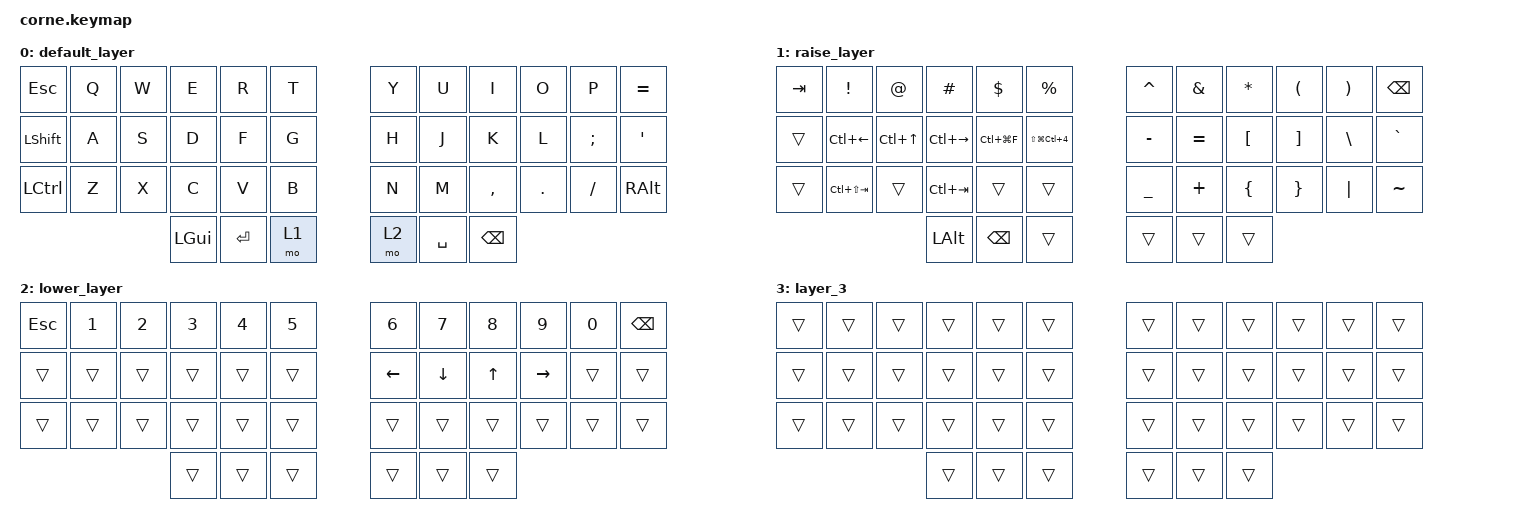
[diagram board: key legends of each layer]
/*
 * Copyright (c) 2020 The ZMK Contributors
 *
 * SPDX-License-Identifier: MIT
 */

#include <behaviors.dtsi>
#include <dt-bindings/zmk/keys.h>

/ {
    keymap {
        compatible = "zmk,keymap";

        default_layer {
            // -----------------------------------------------------------------------------------------
            // |  TAB |  Q  |  W  |  E  |  R  |  T  |   |  Y  |  U   |  I  |  O  |  P  | BSPC |
            // | CTRL |  A  |  S  |  D  |  F  |  G  |   |  H  |  J   |  K  |  L  |  ;  |  '   |
            // | SHFT |  Z  |  X  |  C  |  V  |  B  |   |  N  |  M   |  ,  |  .  |  /  | ESC  |
            //                    | GUI | LWR | SPC |   | ENT | RSE  | ALT |

            bindings = <
&kp ESCAPE        &kp Q  &kp W  &kp E     &kp R      &kp T    &kp Y  &kp U      &kp I          &kp O    &kp P     &kp EQUAL
&kp LEFT_SHIFT    &kp A  &kp S  &kp D     &kp F      &kp G    &kp H  &kp J      &kp K          &kp L    &kp SEMI  &kp SQT
&kp LEFT_CONTROL  &kp Z  &kp X  &kp C     &kp V      &kp B    &kp N  &kp M      &kp COMMA      &kp DOT  &kp FSLH  &kp RIGHT_ALT
                                &kp LGUI  &kp ENTER  &mo 1    &mo 2  &kp SPACE  &kp BACKSPACE
            >;
        };

        raise_layer {
            // -----------------------------------------------------------------------------------------
            // |  TAB |  !  |  @  |  #  |  $  |  %  |   |  ^  |  &  |  *  |  (  |  )  | BSPC |
            // | CTRL |     |     |     |     |     |   |  -  |  =  |  [  |  ]  |  \  |  `   |
            // | SHFT |     |     |     |     |     |   |  _  |  +  |  {  |  }  | "|" |  ~   |
            //                    | GUI |     | SPC |   | ENT |     | ALT |

            bindings = <
&kp TAB  &kp EXCL         &kp AT            &kp HASH       &kp DLLR       &kp PRCNT                   &kp CARET  &kp AMPS   &kp ASTRK  &kp LPAR  &kp RPAR  &kp BSPC
&trans   &kp LC(LEFT)     &kp LC(UP_ARROW)  &kp LC(RIGHT)  &kp LC(LG(F))  &kp LS(LG(LC(NUMBER_4)))    &kp MINUS  &kp EQUAL  &kp LBKT   &kp RBKT  &kp BSLH  &kp GRAVE
&trans   &kp LC(LS(TAB))  &trans            &kp LC(TAB)    &trans         &trans                      &kp UNDER  &kp PLUS   &kp LBRC   &kp RBRC  &kp PIPE  &kp TILDE
                                            &kp LEFT_ALT   &kp BACKSPACE  &trans                      &trans     &trans     &trans
            >;
        };

        lower_layer {
            // -----------------------------------------------------------------------------------------
            // |  TAB |  1  |  2  |  3  |  4  |  5  |   |  6  |  7  |  8  |  9  |  0  | BSPC |
            // | BTCLR| BT1 | BT2 | BT3 | BT4 | BT5 |   | LFT | DWN |  UP | RGT |     |      |
            // | SHFT |     |     |     |     |     |   |     |     |     |     |     |      |
            //                    | GUI |     | SPC |   | ENT |     | ALT |

            bindings = <
&kp ESCAPE  &kp N1  &kp N2  &kp N3  &kp N4  &kp N5    &kp N6    &kp N7    &kp N8  &kp N9     &kp N0  &kp BSPC
&trans      &trans  &trans  &trans  &trans  &trans    &kp LEFT  &kp DOWN  &kp UP  &kp RIGHT  &trans  &trans
&trans      &trans  &trans  &trans  &trans  &trans    &trans    &trans    &trans  &trans     &trans  &trans
                            &trans  &trans  &trans    &trans    &trans    &trans
            >;
        };

        layer_3 {
            bindings = <
&trans  &trans  &trans  &trans  &trans  &trans    &trans  &trans  &trans  &trans  &trans  &trans
&trans  &trans  &trans  &trans  &trans  &trans    &trans  &trans  &trans  &trans  &trans  &trans
&trans  &trans  &trans  &trans  &trans  &trans    &trans  &trans  &trans  &trans  &trans  &trans
                        &trans  &trans  &trans    &trans  &trans  &trans
            >;
        };
    };
};
